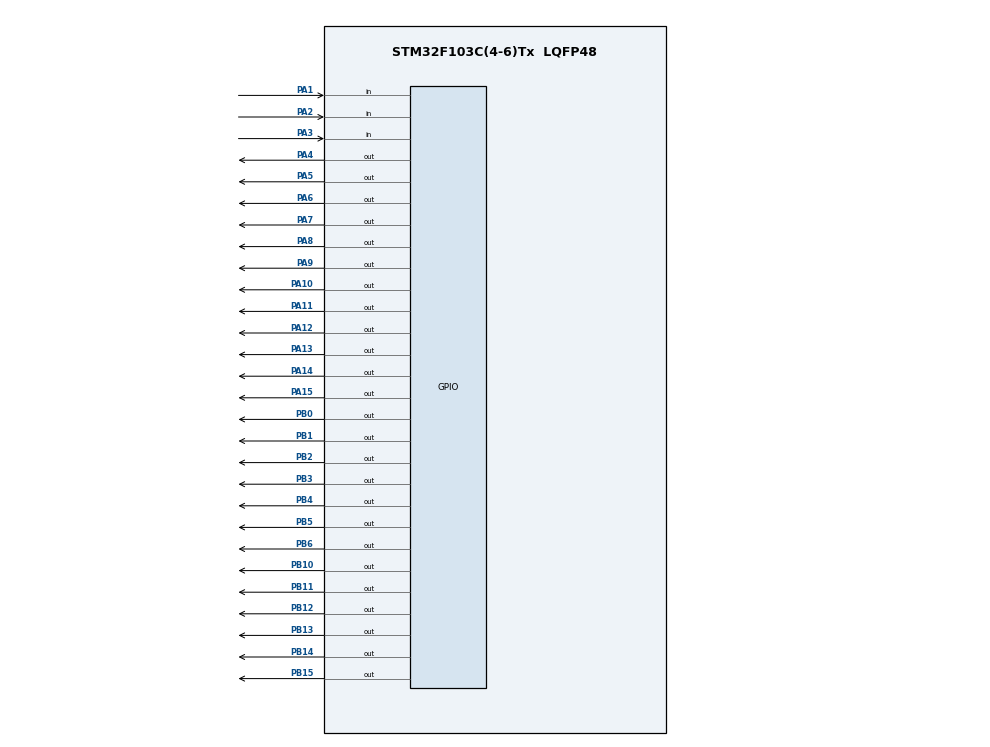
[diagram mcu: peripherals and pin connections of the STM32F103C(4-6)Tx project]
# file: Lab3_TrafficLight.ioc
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Mcu.Family=STM32F1
Mcu.Name=STM32F103C(4-6)Tx
Mcu.Package=LQFP48
NVIC.PriorityGroup=NVIC_PRIORITYGROUP_4
NVIC.TIM2_IRQn=true\:0\:0\:false\:false\:true\:true\:true
PA1.GPIO_PuPd=GPIO_PULLUP
PA1.Signal=GPIO_Input
PA10.Signal=GPIO_Output
PA11.Signal=GPIO_Output
PA12.Signal=GPIO_Output
PA13.Signal=GPIO_Output
PA14.Signal=GPIO_Output
PA15.Signal=GPIO_Output
PA2.GPIO_PuPd=GPIO_PULLUP
PA2.Signal=GPIO_Input
PA3.GPIO_PuPd=GPIO_PULLUP
PA3.Signal=GPIO_Input
PA4.Signal=GPIO_Output
PA5.Signal=GPIO_Output
PA6.Signal=GPIO_Output
PA7.Signal=GPIO_Output
PA8.Signal=GPIO_Output
PA9.Signal=GPIO_Output
PB0.Signal=GPIO_Output
PB1.Signal=GPIO_Output
PB10.Signal=GPIO_Output
PB11.Signal=GPIO_Output
PB12.Signal=GPIO_Output
PB13.Signal=GPIO_Output
PB14.Signal=GPIO_Output
PB15.Signal=GPIO_Output
PB2.Signal=GPIO_Output
PB3.Signal=GPIO_Output
PB4.Signal=GPIO_Output
PB5.Signal=GPIO_Output
PB6.Signal=GPIO_Output
ProjectManager.HeapSize=0x200
ProjectManager.StackSize=0x400
ProjectManager.TargetToolchain=STM32CubeIDE
RCC.APB1Freq_Value=8000000
RCC.APB2Freq_Value=8000000
TIM2.Period=9
TIM2.Prescaler=7999
VP_SYS_VS_ND.Mode=No_Debug
VP_TIM2_VS_ClockSourceINT.Mode=Internal
board=custom

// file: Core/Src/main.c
/* USER CODE BEGIN Header */
/**
  ******************************************************************************
  * @file           : main.c
  * @brief          : Main program body
  ******************************************************************************
  * @attention
  *
  * <h2><center>&copy; Copyright (c) 2026 STMicroelectronics.
  * All rights reserved.</center></h2>
  *
  * This software component is licensed by ST under BSD 3-Clause license,
  * the "License"; You may not use this file except in compliance with the
  * License. You may obtain a copy of the License at:
  *                        opensource.org/licenses/BSD-3-Clause
  *
  ******************************************************************************
  */
/* USER CODE END Header */
#include "main.h"

/* USER CODE BEGIN Includes */
#include "input_reading.h"
#include "software_timer.h"
#include "input_processing.h"
#include "led_display.h"
/* USER CODE END Includes */

TIM_HandleTypeDef htim2;

void SystemClock_Config(void);
static void MX_GPIO_Init(void);
static void MX_TIM2_Init(void);

int main(void)
{

  /* MCU Configuration--------------------------------------------------------*/

  /* Reset of all peripherals, Initializes the Flash interface and the Systick. */
  HAL_Init();

  /* Configure the system clock */
  SystemClock_Config();

  /* Initialize all configured peripherals */
  MX_GPIO_Init();
  MX_TIM2_Init();
  /* USER CODE BEGIN 2 */
    HAL_TIM_Base_Start_IT(&htim2);

    // Khởi động các Timer song song
    setTimer(0, 1000); // Thêm dòng này: Khởi động bộ đếm 1 giây cho đèn giao thông
    setTimer(1, 250);
    setTimer(2, 10);

    // Thiết lập màu đèn ban đầu
    setTrafficLight1(0); // Trụ 1 �?�?
    setTrafficLight2(2); // Trụ 2 Xanh

    int index_led = 0;
  /* USER CODE END 2 */

  /* Infinite loop */
  /* USER CODE BEGIN WHILE */
    while (1)
    {
        // 1. Quản lý logic hệ thống (�?�?c nút nhấn, chuyển mode)
        fsm_for_input_processing();

        // 2. Quét liên tục 4 LED 7 đoạn
        if (timer_flag[2] == 1) {
            update7SEG(index_led);
            index_led++;
            if (index_led >= 4) index_led = 0;
            setTimer(2, 10);
        }
    /* USER CODE END WHILE */

  }
}

void SystemClock_Config(void)
{
  RCC_OscInitTypeDef RCC_OscInitStruct = {0};
  RCC_ClkInitTypeDef RCC_ClkInitStruct = {0};

  /** Initializes the RCC Oscillators according to the specified parameters
  * in the RCC_OscInitTypeDef structure.
  */
  RCC_OscInitStruct.OscillatorType = RCC_OSCILLATORTYPE_HSI;
  RCC_OscInitStruct.HSIState = RCC_HSI_ON;
  RCC_OscInitStruct.HSICalibrationValue = RCC_HSICALIBRATION_DEFAULT;
  RCC_OscInitStruct.PLL.PLLState = RCC_PLL_NONE;
  if (HAL_RCC_OscConfig(&RCC_OscInitStruct) != HAL_OK)
  {
    Error_Handler();
  }
  /** Initializes the CPU, AHB and APB buses clocks
  */
  RCC_ClkInitStruct.ClockType = RCC_CLOCKTYPE_HCLK|RCC_CLOCKTYPE_SYSCLK
                              |RCC_CLOCKTYPE_PCLK1|RCC_CLOCKTYPE_PCLK2;
  RCC_ClkInitStruct.SYSCLKSource = RCC_SYSCLKSOURCE_HSI;
  RCC_ClkInitStruct.AHBCLKDivider = RCC_SYSCLK_DIV1;
  RCC_ClkInitStruct.APB1CLKDivider = RCC_HCLK_DIV1;
  RCC_ClkInitStruct.APB2CLKDivider = RCC_HCLK_DIV1;

  if (HAL_RCC_ClockConfig(&RCC_ClkInitStruct, FLASH_LATENCY_0) != HAL_OK)
  {
    Error_Handler();
  }
}

static void MX_TIM2_Init(void)
{

  TIM_ClockConfigTypeDef sClockSourceConfig = {0};
  TIM_MasterConfigTypeDef sMasterConfig = {0};

  htim2.Instance = TIM2;
  htim2.Init.Prescaler = 7999;
  htim2.Init.CounterMode = TIM_COUNTERMODE_UP;
  htim2.Init.Period = 9;
  htim2.Init.ClockDivision = TIM_CLOCKDIVISION_DIV1;
  htim2.Init.AutoReloadPreload = TIM_AUTORELOAD_PRELOAD_DISABLE;
  if (HAL_TIM_Base_Init(&htim2) != HAL_OK)
  {
    Error_Handler();
  }
  sClockSourceConfig.ClockSource = TIM_CLOCKSOURCE_INTERNAL;
  if (HAL_TIM_ConfigClockSource(&htim2, &sClockSourceConfig) != HAL_OK)
  {
    Error_Handler();
  }
  sMasterConfig.MasterOutputTrigger = TIM_TRGO_RESET;
  sMasterConfig.MasterSlaveMode = TIM_MASTERSLAVEMODE_DISABLE;
  if (HAL_TIMEx_MasterConfigSynchronization(&htim2, &sMasterConfig) != HAL_OK)
  {
    Error_Handler();
  }

}

static void MX_GPIO_Init(void)
{
  GPIO_InitTypeDef GPIO_InitStruct = {0};

  /* GPIO Ports Clock Enable */
  __HAL_RCC_GPIOA_CLK_ENABLE();
  __HAL_RCC_GPIOB_CLK_ENABLE();

  /*Configure GPIO pin Output Level */
  HAL_GPIO_WritePin(GPIOA, GPIO_PIN_4|GPIO_PIN_5|GPIO_PIN_6|GPIO_PIN_7
                          |GPIO_PIN_8|GPIO_PIN_9|GPIO_PIN_10|GPIO_PIN_11
                          |GPIO_PIN_12|GPIO_PIN_13|GPIO_PIN_14|GPIO_PIN_15, GPIO_PIN_RESET);

  /*Configure GPIO pin Output Level */
  HAL_GPIO_WritePin(GPIOB, GPIO_PIN_0|GPIO_PIN_1|GPIO_PIN_2|GPIO_PIN_10
                          |GPIO_PIN_11|GPIO_PIN_12|GPIO_PIN_13|GPIO_PIN_14
                          |GPIO_PIN_15|GPIO_PIN_3|GPIO_PIN_4|GPIO_PIN_5
                          |GPIO_PIN_6, GPIO_PIN_RESET);

  /*Configure GPIO pins : PA1 PA2 PA3 */
  GPIO_InitStruct.Pin = GPIO_PIN_1|GPIO_PIN_2|GPIO_PIN_3;
  GPIO_InitStruct.Mode = GPIO_MODE_INPUT;
  GPIO_InitStruct.Pull = GPIO_PULLUP;
  HAL_GPIO_Init(GPIOA, &GPIO_InitStruct);

  /*Configure GPIO pins : PA4 PA5 PA6 PA7
                           PA8 PA9 PA10 PA11
                           PA12 PA13 PA14 PA15 */
  GPIO_InitStruct.Pin = GPIO_PIN_4|GPIO_PIN_5|GPIO_PIN_6|GPIO_PIN_7
                          |GPIO_PIN_8|GPIO_PIN_9|GPIO_PIN_10|GPIO_PIN_11
                          |GPIO_PIN_12|GPIO_PIN_13|GPIO_PIN_14|GPIO_PIN_15;
  GPIO_InitStruct.Mode = GPIO_MODE_OUTPUT_PP;
  GPIO_InitStruct.Pull = GPIO_NOPULL;
  GPIO_InitStruct.Speed = GPIO_SPEED_FREQ_LOW;
  HAL_GPIO_Init(GPIOA, &GPIO_InitStruct);

  /*Configure GPIO pins : PB0 PB1 PB2 PB10
                           PB11 PB12 PB13 PB14
                           PB15 PB3 PB4 PB5
                           PB6 */
  GPIO_InitStruct.Pin = GPIO_PIN_0|GPIO_PIN_1|GPIO_PIN_2|GPIO_PIN_10
                          |GPIO_PIN_11|GPIO_PIN_12|GPIO_PIN_13|GPIO_PIN_14
                          |GPIO_PIN_15|GPIO_PIN_3|GPIO_PIN_4|GPIO_PIN_5
                          |GPIO_PIN_6;
  GPIO_InitStruct.Mode = GPIO_MODE_OUTPUT_PP;
  GPIO_InitStruct.Pull = GPIO_NOPULL;
  GPIO_InitStruct.Speed = GPIO_SPEED_FREQ_LOW;
  HAL_GPIO_Init(GPIOB, &GPIO_InitStruct);

}

/* USER CODE BEGIN 4 */
void HAL_TIM_PeriodElapsedCallback(TIM_HandleTypeDef *htim) {
    if (htim->Instance == TIM2) {
        button_reading();
        timer_run();
    }
}
/* USER CODE END 4 */

void Error_Handler(void)
{
  __disable_irq();
  while (1)
  {
  }
}

/************************ (C) COPYRIGHT STMicroelectronics *****END OF FILE****/
